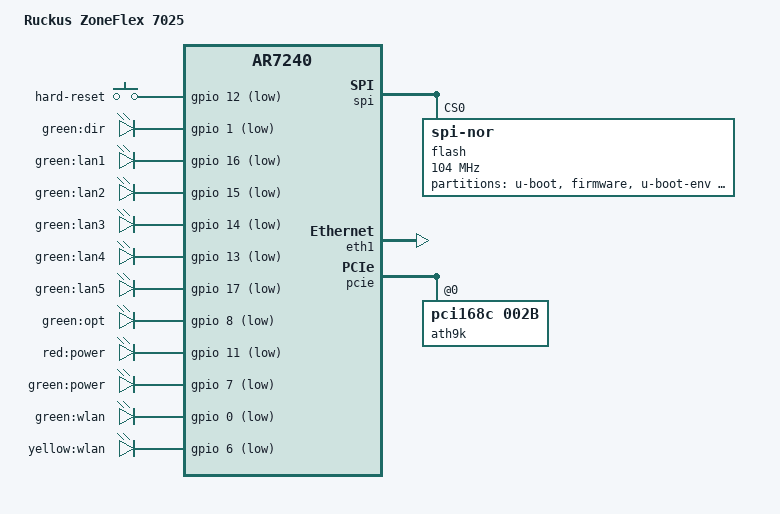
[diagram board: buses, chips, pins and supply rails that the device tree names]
// SPDX-License-Identifier: GPL-2.0-or-later OR MIT

#include "ar7240.dtsi"

#include <dt-bindings/gpio/gpio.h>
#include <dt-bindings/input/input.h>


/ {
	model = "Ruckus ZoneFlex 7025";
	compatible = "ruckus,zf7025", "qca,ar7240";

	aliases {
		led-boot = &led_power_green;
		led-failsafe = &led_power_red;
		led-running = &led_power_green;
		led-upgrade = &led_power_red;
		label-mac-device = &eth0;
	};

	keys {
		compatible = "gpio-keys";

		hard-reset {
			label = "hard-reset";
			linux,code = <KEY_RESTART>;
			gpios = <&gpio 12 GPIO_ACTIVE_LOW>;
			debounce-interval = <60>;
		};
	};

	leds: leds {
		compatible = "gpio-leds";

		pinctrl-names = "default";
		pinctrl-0 = <&jtag_disable_pins &switch_led_disable_pins &clks_disable_pins>;

		dir {
			label = "green:dir";
			gpios = <&gpio 1 GPIO_ACTIVE_LOW>;
		};

		lan1 {
			label = "green:lan1";
			gpios = <&gpio 16 GPIO_ACTIVE_LOW>;
		};

		lan2 {
			label = "green:lan2";
			gpios = <&gpio 15 GPIO_ACTIVE_LOW>;
		};

		lan3 {
			label = "green:lan3";
			gpios = <&gpio 14 GPIO_ACTIVE_LOW>;
		};

		lan4 {
			label = "green:lan4";
			gpios = <&gpio 13 GPIO_ACTIVE_LOW>;
		};

		lan5 {
			label = "green:lan5";
			gpios = <&gpio 17 GPIO_ACTIVE_LOW>;
		};

		opt {
			label = "green:opt";
			gpios = <&gpio 8 GPIO_ACTIVE_LOW>;
		};

		led_power_red: power-red {
			label = "red:power";
			gpios = <&gpio 11 GPIO_ACTIVE_LOW>;
			panic-indicator;
		};

		led_power_green: power-green {
			label = "green:power";
			gpios = <&gpio 7 GPIO_ACTIVE_LOW>;
			default-state = "on";
		};

		wlan-green {
			label = "green:wlan";
			gpios = <&gpio 0 GPIO_ACTIVE_LOW>;
			linux,default-trigger = "phy0assoc";
		};

		wlan-yellow {
			label = "yellow:wlan";
			gpios = <&gpio 6 GPIO_ACTIVE_LOW>;
			linux,default-trigger = "phy0tpt";
		};
	};

	reserved-memory {
		#address-cells = <1>;
		#size-cells = <1>;
		ranges;

		ruckus-himem@3ff0000 {
			/* Ruckus Himem area used to control
			 * redundant boot image selection
			 */
			compatible = "nvmem-rmem";
			reg = <0x3ff0000 0x10000>;
			no-map;
		};
	};
};

&spi {
	status = "okay";

	flash@0 {
		compatible = "jedec,spi-nor";
		reg = <0>;
		spi-max-frequency = <104000000>;
		m25p,fast-read;

		partitions {
			compatible = "fixed-partitions";
			#address-cells = <1>;
			#size-cells = <1>;

			partition@0 {
				reg = <0x0 0x40000>;
				label = "u-boot";
				read-only;
			};

			/* On stock FW this encompasses rcks_wlan.main,
			 * rcks_wlan.bkup and datafs partitions
			 */
			partition@40000 {
				compatible = "openwrt,uimage", "denx,uimage";
				reg = <0x40000 0xf40000>;
				label = "firmware";
			};

			partition@f80000 {
				compatible = "u-boot,env";
				reg = <0xf80000 0x40000>;
				label = "u-boot-env";
			};

			board_data: partition@fc0000 {
				reg = <0xfc0000 0x40000>;
				label = "board-data";
				read-only;

				nvmem-layout {
					compatible = "fixed-layout";
					#address-cells = <1>;
					#size-cells = <1>;

					macaddr_board_data_60: macaddr@60 {
						reg = <0x60 0x6>;
					};

					macaddr_board_data_66: macaddr@66 {
						reg = <0x66 0x6>;
					};

					macaddr_board_data_6c: macaddr@6c {
						reg = <0x6c 0x6>;
					};
				};
			};
		};
	};
};

&eth0 {
	nvmem-cells = <&macaddr_board_data_66>;
	nvmem-cell-names = "mac-address";
};

&eth1 {
	status = "okay";
	nvmem-cells = <&macaddr_board_data_6c>;
	nvmem-cell-names = "mac-address";
};

&pcie {
	status = "okay";

	ath9k: wifi@0,0 {
		compatible = "pci168c,002b";
		reg = <0x0000 0 0 0 0>;
		nvmem-cells = <&macaddr_board_data_60>;
		nvmem-cell-names = "mac-address";
	};
};
